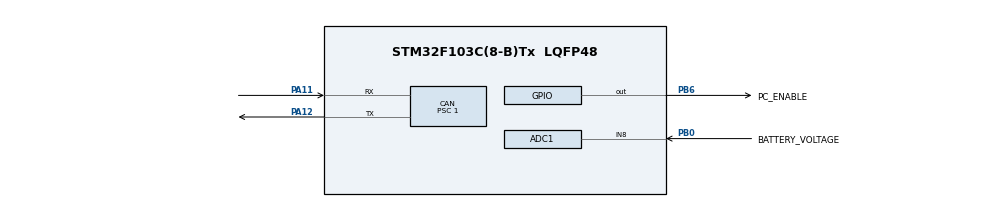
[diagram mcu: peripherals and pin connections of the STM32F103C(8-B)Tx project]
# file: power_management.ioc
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ADC1.Channel-0\#ChannelRegularConversion=ADC_CHANNEL_8
ADC1.ContinuousConvMode=DISABLE
ADC1.ExternalTrigConv=ADC_EXTERNALTRIGCONV_T3_TRGO
ADC1.NbrOfConversion=1
ADC1.NbrOfConversionFlag=1
ADC1.Rank-0\#ChannelRegularConversion=1
ADC1.SamplingTime-0\#ChannelRegularConversion=ADC_SAMPLETIME_1CYCLE_5
ADC1.master=1
CAN.ABOM=ENABLE
CAN.BS1=CAN_BS1_12TQ
CAN.BS2=CAN_BS2_3TQ
CAN.CalculateBaudRate=500000
CAN.CalculateTimeBit=2000
CAN.CalculateTimeQuantum=125.0
CAN.NART=ENABLE
CAN.Prescaler=1
CAN.TXFP=ENABLE
Dma.ADC1.0.Direction=DMA_PERIPH_TO_MEMORY
Dma.ADC1.0.Instance=DMA1_Channel1
Dma.ADC1.0.MemDataAlignment=DMA_MDATAALIGN_HALFWORD
Dma.ADC1.0.MemInc=DMA_MINC_ENABLE
Dma.ADC1.0.Mode=DMA_CIRCULAR
Dma.ADC1.0.PeriphDataAlignment=DMA_PDATAALIGN_HALFWORD
Dma.ADC1.0.PeriphInc=DMA_PINC_DISABLE
Dma.ADC1.0.Priority=DMA_PRIORITY_LOW
Dma.Request0=ADC1
Mcu.Family=STM32F1
Mcu.Name=STM32F103C(8-B)Tx
Mcu.Package=LQFP48
NVIC.CAN1_RX1_IRQn=true\:0\:0\:false\:false\:true\:true\:true\:true
NVIC.CAN1_SCE_IRQn=true\:0\:0\:false\:false\:true\:true\:true\:true
NVIC.DMA1_Channel1_IRQn=true\:0\:0\:false\:false\:true\:false\:true\:true
NVIC.PriorityGroup=NVIC_PRIORITYGROUP_4
NVIC.TIM2_IRQn=true\:0\:0\:false\:false\:true\:true\:true\:true
NVIC.USB_HP_CAN1_TX_IRQn=true\:0\:0\:false\:false\:true\:true\:true\:true
NVIC.USB_LP_CAN1_RX0_IRQn=true\:0\:0\:false\:false\:true\:true\:true\:true
PA11.Mode=CAN_Activate
PA11.Signal=CAN_RX
PA12.Mode=CAN_Activate
PA12.Signal=CAN_TX
PA13.Mode=Serial_Wire
PA13.Signal=SYS_JTMS-SWDIO
PA14.Mode=Serial_Wire
PA14.Signal=SYS_JTCK-SWCLK
PB0.GPIO_Label=BATTERY_VOLTAGE
PB0.Signal=ADCx_IN8
PB6.GPIO_Label=PC_ENABLE
PB6.PinState=GPIO_PIN_SET
PB6.Signal=GPIO_Output
ProjectManager.HeapSize=0x200
ProjectManager.StackSize=0x400
ProjectManager.TargetToolchain=STM32CubeIDE
RCC.APB1Freq_Value=8000000
RCC.APB2Freq_Value=8000000
SH.ADCx_IN8.0=ADC1_IN8,IN8
TIM2.Period=2999
TIM2.Prescaler=7999
TIM3.Period=99
TIM3.Prescaler=7999
TIM3.TIM_MasterOutputTrigger=TIM_TRGO_UPDATE
VP_TIM2_VS_ClockSourceINT.Mode=Internal
VP_TIM3_VS_ClockSourceINT.Mode=Internal
board=custom

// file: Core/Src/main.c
/* USER CODE BEGIN Header */
/**
  ******************************************************************************
  * @file           : main.c
  * @brief          : Main program body
  ******************************************************************************
  * @attention
  *
  * Copyright (c) 2024 STMicroelectronics.
  * All rights reserved.
  *
  * This software is licensed under terms that can be found in the LICENSE file
  * in the root directory of this software component.
  * If no LICENSE file comes with this software, it is provided AS-IS.
  *
  ******************************************************************************
  */
/* USER CODE END Header */
#include "main.h"

/* USER CODE BEGIN PD */
#define ADC_RESOLUTION 4096            // 12-bit ADC resolution

/* USER CODE END PD */

ADC_HandleTypeDef hadc1;
DMA_HandleTypeDef hdma_adc1;

CAN_HandleTypeDef hcan;

TIM_HandleTypeDef htim2;
TIM_HandleTypeDef htim3;

/* USER CODE BEGIN PV */

// TIM2 is used for user timers
// TIM3 is used for ADC sampling

// Hardcoded can node id for this device
const uint8_t NODE_ID = 0x61;

/**
 * @brief CAN command and response IDs
 *
 * These enums represent the command and response IDs used in data field in CAN communication.
 */
typedef enum {
    // Responses are assigned IDs from upper half of the command IDs range
    // although there is no particular benefit or reason behind this
    CAN_RESP_BATTERY_VOLTAGE      = 0x08
} CAN_CommandID;

// CAN Header buffer for received CAN commands
// Consider moving this to HAL_CAN_RxFifo0MsgPendingCallback
CAN_RxHeaderTypeDef   RxHeader;

// CAN data buffer for received CAN commands
// Also consider moving this to HAL_CAN_RxFifo0MsgPendingCallback
uint8_t               RxData[8];

// Buffer for ADC measurements
uint32_t adc_buffer[1];

// ADC measurements converted to battery voltage in mV
// Consider moving this to HAL_ADC_ConvCpltCallbacktemperature
uint16_t battery_voltage;

/* USER CODE END PV */

void SystemClock_Config(void);
static void MX_GPIO_Init(void);
static void MX_DMA_Init(void);
static void MX_ADC1_Init(void);
static void MX_CAN_Init(void);
static void MX_TIM2_Init(void);
static void MX_TIM3_Init(void);
/* USER CODE BEGIN PFP */
void DMA_TransferCompleteCallback(DMA_HandleTypeDef *hdma);

/* USER CODE END PFP */

int main(void)
{

  /* MCU Configuration--------------------------------------------------------*/

  /* Reset of all peripherals, Initializes the Flash interface and the Systick. */
  HAL_Init();

  /* Configure the system clock */
  SystemClock_Config();

  /* Initialize all configured peripherals */
  MX_GPIO_Init();
  MX_DMA_Init();
  MX_ADC1_Init();
  MX_CAN_Init();
  MX_TIM2_Init();
  MX_TIM3_Init();
  /* USER CODE BEGIN 2 */

  CAN_FilterTypeDef canfilterconfig;
  canfilterconfig.FilterActivation = CAN_FILTER_ENABLE;
  canfilterconfig.FilterBank = 0;
  canfilterconfig.FilterFIFOAssignment = CAN_FILTER_FIFO0;

  // In IDLIST mode, property names can be misleading
  // (FilterIdHigh, FilterIdLow, FilterMaskIdHigh, and FilterMaskIdLow).
  // For CAN_FILTERSCALE_16BIT, each property is just a standard 11-bit ID to whitelist.
  // For CAN_FILTERSCALE_32BIT, FilterIdHigh and FilterIdLow together represent one extended 29-bit ID,
  // and FilterMaskIdHigh and FilterMaskIdLow together represent the second extended ID.
  // For better understanding, refer to the memory layout in the MCU datasheet.
  // In our case, we are only using standard IDs.
  canfilterconfig.FilterMode = CAN_FILTERMODE_IDLIST;
  canfilterconfig.FilterScale = CAN_FILTERSCALE_16BIT;

  // Standard 11-bit IDs must be shifted left by 5 bits to align with the left 11 bits of the 16-bit filter registers.
  // The right 5 bits can be set to 0 since they are used for extended 29-bit IDs, except for the RTR bit.
  // The RTR (Remote Transmission Request) bit can be set by appending | 0x10.
  // RTR messages are used to request battery voltage
  canfilterconfig.FilterIdHigh = ((NODE_ID + (CAN_RESP_BATTERY_VOLTAGE << 7)) << 5) | 0x10;  // 1st 11-bit ID - not used
  canfilterconfig.FilterIdLow = ((NODE_ID + (CAN_RESP_BATTERY_VOLTAGE << 7)) << 5) | 0x10;  // 2nd 11-bit ID - not used
  canfilterconfig.FilterMaskIdHigh = ((NODE_ID + (CAN_RESP_BATTERY_VOLTAGE << 7)) << 5) | 0x10;  // 3rd 11-bit ID - not used
  canfilterconfig.FilterMaskIdLow = ((NODE_ID + (CAN_RESP_BATTERY_VOLTAGE << 7)) << 5) | 0x10;  // 4th 11-bit ID - not used

  HAL_CAN_ConfigFilter(&hcan, &canfilterconfig);

  // Activate CAN notifications, so our interrupt handlers are actually called
  // Some of those notifications can probably be omitted, but this would require careful testing
  if (HAL_CAN_ActivateNotification(&hcan, \
		    CAN_IT_TX_MAILBOX_EMPTY     | \
		    CAN_IT_RX_FIFO0_MSG_PENDING | \
		    CAN_IT_RX_FIFO0_FULL        | \
		    CAN_IT_RX_FIFO0_OVERRUN     | \
		    CAN_IT_RX_FIFO1_MSG_PENDING | \
		    CAN_IT_RX_FIFO1_FULL        | \
		    CAN_IT_RX_FIFO1_OVERRUN     | \
		    CAN_IT_ERROR_WARNING        | \
		    CAN_IT_ERROR_PASSIVE        | \
		    CAN_IT_BUSOFF               | \
		    CAN_IT_LAST_ERROR_CODE      | \
		    CAN_IT_ERROR                ) != HAL_OK) {
    Error_Handler();
  }
  HAL_CAN_Start(&hcan);

  HAL_ADC_Start_DMA(&hadc1, adc_buffer, 1);

  // Start the timer for ADC sampling
  if (HAL_TIM_Base_Start(&htim3) != HAL_OK) {
      // Starting Error
      Error_Handler();
  }

  /* USER CODE END 2 */

  /* Infinite loop */
  while (1)
  {

  }
}

void SystemClock_Config(void)
{
  RCC_OscInitTypeDef RCC_OscInitStruct = {0};
  RCC_ClkInitTypeDef RCC_ClkInitStruct = {0};
  RCC_PeriphCLKInitTypeDef PeriphClkInit = {0};

  /** Initializes the RCC Oscillators according to the specified parameters
  * in the RCC_OscInitTypeDef structure.
  */
  RCC_OscInitStruct.OscillatorType = RCC_OSCILLATORTYPE_HSI;
  RCC_OscInitStruct.HSIState = RCC_HSI_ON;
  RCC_OscInitStruct.HSICalibrationValue = RCC_HSICALIBRATION_DEFAULT;
  RCC_OscInitStruct.PLL.PLLState = RCC_PLL_NONE;
  if (HAL_RCC_OscConfig(&RCC_OscInitStruct) != HAL_OK)
  {
    Error_Handler();
  }

  /** Initializes the CPU, AHB and APB buses clocks
  */
  RCC_ClkInitStruct.ClockType = RCC_CLOCKTYPE_HCLK|RCC_CLOCKTYPE_SYSCLK
                              |RCC_CLOCKTYPE_PCLK1|RCC_CLOCKTYPE_PCLK2;
  RCC_ClkInitStruct.SYSCLKSource = RCC_SYSCLKSOURCE_HSI;
  RCC_ClkInitStruct.AHBCLKDivider = RCC_SYSCLK_DIV1;
  RCC_ClkInitStruct.APB1CLKDivider = RCC_HCLK_DIV1;
  RCC_ClkInitStruct.APB2CLKDivider = RCC_HCLK_DIV1;

  if (HAL_RCC_ClockConfig(&RCC_ClkInitStruct, FLASH_LATENCY_0) != HAL_OK)
  {
    Error_Handler();
  }
  PeriphClkInit.PeriphClockSelection = RCC_PERIPHCLK_ADC;
  PeriphClkInit.AdcClockSelection = RCC_ADCPCLK2_DIV2;
  if (HAL_RCCEx_PeriphCLKConfig(&PeriphClkInit) != HAL_OK)
  {
    Error_Handler();
  }
}

static void MX_ADC1_Init(void)
{

  ADC_ChannelConfTypeDef sConfig = {0};

  /** Common config
  */
  hadc1.Instance = ADC1;
  hadc1.Init.ScanConvMode = ADC_SCAN_DISABLE;
  hadc1.Init.ContinuousConvMode = DISABLE;
  hadc1.Init.DiscontinuousConvMode = DISABLE;
  hadc1.Init.ExternalTrigConv = ADC_EXTERNALTRIGCONV_T3_TRGO;
  hadc1.Init.DataAlign = ADC_DATAALIGN_RIGHT;
  hadc1.Init.NbrOfConversion = 1;
  if (HAL_ADC_Init(&hadc1) != HAL_OK)
  {
    Error_Handler();
  }

  /** Configure Regular Channel
  */
  sConfig.Channel = ADC_CHANNEL_8;
  sConfig.Rank = ADC_REGULAR_RANK_1;
  sConfig.SamplingTime = ADC_SAMPLETIME_1CYCLE_5;
  if (HAL_ADC_ConfigChannel(&hadc1, &sConfig) != HAL_OK)
  {
    Error_Handler();
  }

}

static void MX_CAN_Init(void)
{

  hcan.Instance = CAN1;
  hcan.Init.Prescaler = 1;
  hcan.Init.Mode = CAN_MODE_NORMAL;
  hcan.Init.SyncJumpWidth = CAN_SJW_1TQ;
  hcan.Init.TimeSeg1 = CAN_BS1_12TQ;
  hcan.Init.TimeSeg2 = CAN_BS2_3TQ;
  hcan.Init.TimeTriggeredMode = DISABLE;
  hcan.Init.AutoBusOff = ENABLE;
  hcan.Init.AutoWakeUp = DISABLE;
  hcan.Init.AutoRetransmission = ENABLE;
  hcan.Init.ReceiveFifoLocked = DISABLE;
  hcan.Init.TransmitFifoPriority = ENABLE;
  if (HAL_CAN_Init(&hcan) != HAL_OK)
  {
    Error_Handler();
  }

}

static void MX_TIM2_Init(void)
{

  TIM_ClockConfigTypeDef sClockSourceConfig = {0};
  TIM_MasterConfigTypeDef sMasterConfig = {0};

  htim2.Instance = TIM2;
  htim2.Init.Prescaler = 7999;
  htim2.Init.CounterMode = TIM_COUNTERMODE_UP;
  htim2.Init.Period = 2999;
  htim2.Init.ClockDivision = TIM_CLOCKDIVISION_DIV1;
  htim2.Init.AutoReloadPreload = TIM_AUTORELOAD_PRELOAD_DISABLE;
  if (HAL_TIM_Base_Init(&htim2) != HAL_OK)
  {
    Error_Handler();
  }
  sClockSourceConfig.ClockSource = TIM_CLOCKSOURCE_INTERNAL;
  if (HAL_TIM_ConfigClockSource(&htim2, &sClockSourceConfig) != HAL_OK)
  {
    Error_Handler();
  }
  sMasterConfig.MasterOutputTrigger = TIM_TRGO_RESET;
  sMasterConfig.MasterSlaveMode = TIM_MASTERSLAVEMODE_DISABLE;
  if (HAL_TIMEx_MasterConfigSynchronization(&htim2, &sMasterConfig) != HAL_OK)
  {
    Error_Handler();
  }

}

static void MX_TIM3_Init(void)
{

  TIM_ClockConfigTypeDef sClockSourceConfig = {0};
  TIM_MasterConfigTypeDef sMasterConfig = {0};

  htim3.Instance = TIM3;
  htim3.Init.Prescaler = 7999;
  htim3.Init.CounterMode = TIM_COUNTERMODE_UP;
  htim3.Init.Period = 99;
  htim3.Init.ClockDivision = TIM_CLOCKDIVISION_DIV1;
  htim3.Init.AutoReloadPreload = TIM_AUTORELOAD_PRELOAD_DISABLE;
  if (HAL_TIM_Base_Init(&htim3) != HAL_OK)
  {
    Error_Handler();
  }
  sClockSourceConfig.ClockSource = TIM_CLOCKSOURCE_INTERNAL;
  if (HAL_TIM_ConfigClockSource(&htim3, &sClockSourceConfig) != HAL_OK)
  {
    Error_Handler();
  }
  sMasterConfig.MasterOutputTrigger = TIM_TRGO_UPDATE;
  sMasterConfig.MasterSlaveMode = TIM_MASTERSLAVEMODE_DISABLE;
  if (HAL_TIMEx_MasterConfigSynchronization(&htim3, &sMasterConfig) != HAL_OK)
  {
    Error_Handler();
  }

}

static void MX_DMA_Init(void)
{

  /* DMA controller clock enable */
  __HAL_RCC_DMA1_CLK_ENABLE();

  /* DMA interrupt init */
  /* DMA1_Channel1_IRQn interrupt configuration */
  HAL_NVIC_SetPriority(DMA1_Channel1_IRQn, 0, 0);
  HAL_NVIC_EnableIRQ(DMA1_Channel1_IRQn);

}

static void MX_GPIO_Init(void)
{
  GPIO_InitTypeDef GPIO_InitStruct = {0};

  /* GPIO Ports Clock Enable */
  __HAL_RCC_GPIOB_CLK_ENABLE();
  __HAL_RCC_GPIOA_CLK_ENABLE();

  /*Configure GPIO pin Output Level */
  HAL_GPIO_WritePin(PC_ENABLE_GPIO_Port, PC_ENABLE_Pin, GPIO_PIN_SET);

  /*Configure GPIO pin : PC_ENABLE_Pin */
  GPIO_InitStruct.Pin = PC_ENABLE_Pin;
  GPIO_InitStruct.Mode = GPIO_MODE_OUTPUT_PP;
  GPIO_InitStruct.Pull = GPIO_NOPULL;
  GPIO_InitStruct.Speed = GPIO_SPEED_FREQ_LOW;
  HAL_GPIO_Init(PC_ENABLE_GPIO_Port, &GPIO_InitStruct);

}

/* USER CODE BEGIN 4 */

/**
 * Handles the pending CAN messages by calling
 * the appropriate function based on the command ID.
 */
void HAL_CAN_RxFifo0MsgPendingCallback(CAN_HandleTypeDef *hcan) {
  if (HAL_CAN_GetRxMessage(hcan, CAN_RX_FIFO0, &RxHeader, RxData) != HAL_OK) {
    Error_Handler();
  }
  if(RxHeader.RTR == CAN_RTR_REMOTE){
    // Receiver request for temperature measurement

  uint32_t TxMailbox;
  const CAN_TxHeaderTypeDef TxHeader = {
    .IDE = CAN_ID_STD,
	.StdId = NODE_ID + (CAN_RESP_BATTERY_VOLTAGE << 7),
	.RTR = CAN_RTR_DATA,
	.DLC = 2
  };

  HAL_CAN_AddTxMessage(hcan, &TxHeader,(uint8_t *) &battery_voltage, &TxMailbox);
  return;
  }
}

/**
 * Handle CAN errors, specifically the bus-off error.
 * Retract the probe and set a timeout for recovery.
 */
void HAL_CAN_ErrorCallback(CAN_HandleTypeDef *hcan) {
    uint32_t error = HAL_CAN_GetError(hcan);

    if (error & HAL_CAN_ERROR_BOF) {

        // Abort sending any messages
        HAL_CAN_AbortTxRequest(hcan, CAN_TX_MAILBOX0);
        HAL_CAN_AbortTxRequest(hcan, CAN_TX_MAILBOX1);
        HAL_CAN_AbortTxRequest(hcan, CAN_TX_MAILBOX2);

        // TODO:  Send recovery message
        //        SetTimeout(RecoveryTimeout, 500);
    }

    // Todo: Are there any other errors we have to handle?
}

void HAL_ADC_ConvCpltCallback(ADC_HandleTypeDef* hadc)
{
    // We fit two lines for more precise model
    // adc_buffer[0] * 29242 always fits inside 32bit integer
	if(adc_buffer[0] < 1951){
	  battery_voltage = 18981*adc_buffer[0]/1000 - 5100;
	}
	else{
	  battery_voltage = 29242*adc_buffer[0]/1000 - 25120;
	}

}

/* USER CODE END 4 */

void Error_Handler(void)
{
  /* USER CODE BEGIN Error_Handler_Debug */
  /* User can add his own implementation to report the HAL error return state */
  __disable_irq();
  // Reset the system as a last resort to recover from unhandled or fatal errors
   HAL_NVIC_SystemReset();

  /* USER CODE END Error_Handler_Debug */
}
